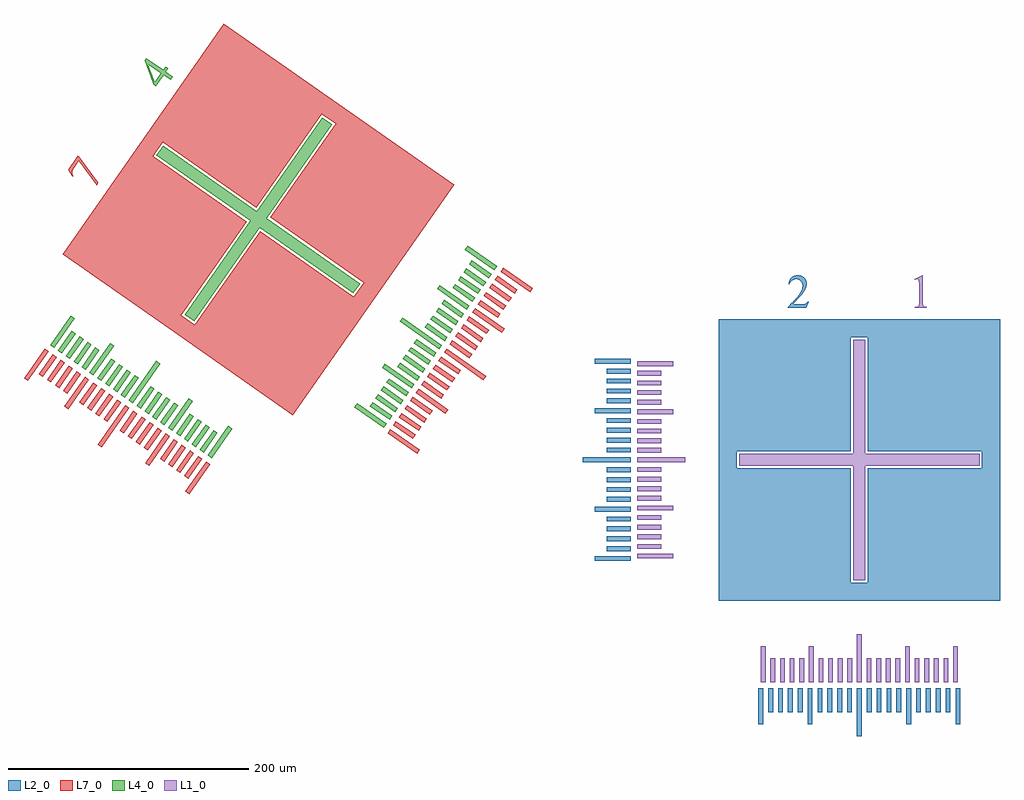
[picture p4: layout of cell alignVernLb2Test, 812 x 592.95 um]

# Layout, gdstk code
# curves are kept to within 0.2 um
import gdstk
lib = gdstk.Library(unit=1e-6, precision=1e-09)
def R(c, l, rs):  # rectangles x0, y0, x1, y1
    for r in rs: c.add(gdstk.rectangle(r[:2], r[2:], *l))
def A(c, l, x, y, w, h, nx, ny, dx, dy):  # array of equal rectangles
    R(c, l, [(x+i*dx, y+j*dy, x+i*dx+w, y+j*dy+h) for i in range(nx) for j in range(ny)])
def P(c, l, *ps):  # polygons
    for p in ps: c.add(gdstk.Polygon(p, *l))
L1_0 = (1, 0)
L2_0 = (2, 0)
L4_0 = (4, 0)
L7_0 = (7, 0)

alignvernlb2test = lib.new_cell('alignVernLb2Test')
A(alignvernlb2test, L1_0, -74, -185, 4, 20, 4, 1, 8, 0)
A(alignvernlb2test, L1_0, -34, -185, 4, 20, 4, 1, 8, 0)
A(alignvernlb2test, L1_0, 6, -185, 4, 20, 4, 1, 8, 0)
A(alignvernlb2test, L1_0, 46, -185, 4, 20, 4, 1, 8, 0)
A(alignvernlb2test, L1_0, -185, -74, 20, 4, 1, 4, 0, 8)
A(alignvernlb2test, L1_0, -185, -34, 20, 4, 1, 4, 0, 8)
A(alignvernlb2test, L1_0, -185, 6, 20, 4, 1, 4, 0, 8)
A(alignvernlb2test, L1_0, -185, 46, 20, 4, 1, 4, 0, 8)
R(alignvernlb2test, L1_0, [(-82,-185,-78,-155), (-42,-185,-38,-155), (-2,-185,2,-145), (38,-185,42,-155), (78,-185,82,-155), (-185,-82,-155,-78), (-185,-42,-155,-38), (-185,-2,-145,2), (-185,38,-155,42), (-185,78,-155,82)])
P(alignvernlb2test, L1_0, [(-5,-100),(-5,-5),(-100,-5),(-100,5),(-5,5),(-5,100),(5,100),(5,5),(100,5),(100,-5),(5,-5),(5,-100)],
  [(46.25,126.484),(46.25,127.203),(48.598,127.497),(49.533,128.647),(49.644,146.769),(49.478,149.047),(48.997,150.04),(47.951,150.37),(46.078,149.766),(45.781,150.375),(52.234,153.516),(52.875,153.516),(52.964,128.882),(53.568,127.7),(56.219,127.203),(56.219,126.484)])
A(alignvernlb2test, L2_0, -75.8, -210, 4, 20, 4, 1, 8.2, 0)
A(alignvernlb2test, L2_0, -34.8, -210, 4, 20, 4, 1, 8.2, 0)
A(alignvernlb2test, L2_0, 6.2, -210, 4, 20, 4, 1, 8.2, 0)
A(alignvernlb2test, L2_0, 47.2, -210, 4, 20, 4, 1, 8.2, 0)
A(alignvernlb2test, L2_0, -210, -75.8, 20, 4, 1, 4, 0, 8.2)
A(alignvernlb2test, L2_0, -210, -34.8, 20, 4, 1, 4, 0, 8.2)
A(alignvernlb2test, L2_0, -210, 6.2, 20, 4, 1, 4, 0, 8.2)
A(alignvernlb2test, L2_0, -210, 47.2, 20, 4, 1, 4, 0, 8.2)
R(alignvernlb2test, L2_0, [(-2,-230,2,-190), (-84,-220,-80,-190), (-43,-220,-39,-190), (39,-220,43,-190), (80,-220,84,-190), (-220,-84,-190,-80), (-220,-43,-190,-39), (-230,-2,-190,2), (-220,39,-190,43), (-220,80,-190,84)])
P(alignvernlb2test, L2_0, [(-117,-117),(-117,-102),(7,-102),(7,-7),(102,-7),(102,7),(7,7),(7,102),(-7,102),(-7,7),(-102,7),(-102,-7),(-7,-7),(-7,-102),(-117,-102),(-117,117),(117,117),(117,-117)],
  [(-59.742,126.484),(-59.742,127.203),(-53.871,132.922),(-50.039,137.484),(-48.116,140.839),(-47.251,144.141),(-47.348,146.11),(-47.889,147.684),(-48.96,149.103),(-50.344,150.073),(-52.703,150.527),(-55.162,149.89),(-57.009,148.384),(-58.258,146.031),(-58.977,146.031),(-58.146,149.145),(-56.532,151.525),(-54.114,153.063),(-51.016,153.508),(-48.129,152.861),(-45.906,151.315),(-44.389,149.113),(-43.883,146.65),(-44.326,143.798),(-45.652,140.938),(-47.654,138.016),(-55.586,129.438),(-45.814,129.575),(-44.172,130.227),(-42.977,131.578),(-42.258,131.578),(-44.117,126.484)])
P(alignvernlb2test, L4_0, [(-553.262,115.217),(-561.453,120.953),(-506.964,198.772),(-584.783,253.262),(-579.047,261.453),(-501.228,206.964),(-446.738,284.783),(-438.547,279.047),(-493.036,201.228),(-415.217,146.738),(-420.953,138.547),(-498.772,193.036)],
  [(-545.494,6.012),(-548.771,8.307),(-537.299,24.69),(-534.023,22.395)],
  [(-538.941,1.424),(-542.218,3.718),(-525.01,28.292),(-521.734,25.998)],
  [(-552.048,10.601),(-555.324,12.895),(-543.853,29.278),(-540.576,26.984)],
  [(-558.601,15.189),(-561.877,17.484),(-550.406,33.867),(-547.129,31.572)],
  [(-565.154,19.778),(-568.431,22.072),(-556.959,38.455),(-553.682,36.161)],
  [(-578.26,28.955),(-581.537,31.25),(-570.066,47.633),(-566.789,45.338)],
  [(-571.707,24.367),(-574.984,26.661),(-557.777,51.236),(-554.5,48.941)],
  [(-584.814,33.544),(-588.09,35.838),(-576.619,52.221),(-573.342,49.927)],
  [(-591.367,38.132),(-594.643,40.427),(-583.172,56.81),(-579.895,54.516)],
  [(-597.92,42.721),(-601.197,45.015),(-589.725,61.398),(-586.449,59.104)],
  [(-611.027,51.898),(-614.303,54.193),(-602.832,70.576),(-599.555,68.281)],
  [(-617.58,56.487),(-620.856,58.781),(-609.385,75.164),(-606.108,72.87)],
  [(-624.133,61.076),(-627.41,63.37),(-615.938,79.753),(-612.661,77.459)],
  [(-604.473,47.31),(-607.75,49.604),(-584.807,82.37),(-581.53,80.076)],
  [(-630.686,65.664),(-633.963,67.958),(-622.491,84.342),(-619.215,82.047)],
  [(-643.793,74.841),(-647.069,77.136),(-635.598,93.519),(-632.321,91.224)],
  [(-637.239,70.253),(-640.516,72.547),(-623.309,97.122),(-620.032,94.827)],
  [(-650.346,79.43),(-653.622,81.724),(-642.151,98.107),(-638.874,95.813)],
  [(-656.899,84.019),(-660.176,86.313),(-648.704,102.696),(-645.428,100.402)],
  [(-663.452,88.607),(-666.729,90.902),(-655.257,107.285),(-651.981,104.99)],
  [(-670.005,93.196),(-673.282,95.49),(-656.075,120.065),(-652.798,117.77)],
  [(-395.49,26.718),(-420.065,43.925),(-417.77,47.202),(-393.196,29.994)],
  [(-390.902,33.271),(-407.285,44.743),(-404.99,48.019),(-388.607,36.548)],
  [(-386.313,39.824),(-402.696,51.296),(-400.402,54.572),(-384.019,43.101)],
  [(-381.724,46.378),(-398.107,57.849),(-395.813,61.126),(-379.43,49.654)],
  [(-377.136,52.931),(-393.519,64.402),(-391.224,67.679),(-374.841,56.207)],
  [(-372.547,59.484),(-397.122,76.691),(-394.827,79.968),(-370.253,62.761)],
  [(-367.958,66.037),(-384.342,77.509),(-382.047,80.785),(-365.664,69.314)],
  [(-363.37,72.59),(-379.753,84.062),(-377.459,87.339),(-361.076,75.867)],
  [(-358.781,79.144),(-375.164,90.615),(-372.87,93.892),(-356.487,82.42)],
  [(-354.193,85.697),(-370.576,97.168),(-368.281,100.445),(-351.898,88.973)],
  [(-345.015,98.803),(-361.398,110.275),(-359.104,113.551),(-342.721,102.08)],
  [(-349.604,92.25),(-382.37,115.193),(-380.076,118.47),(-347.31,95.527)],
  [(-340.427,105.356),(-356.81,116.828),(-354.516,120.105),(-338.133,108.633)],
  [(-335.838,111.91),(-352.221,123.381),(-349.927,126.658),(-333.544,115.186)],
  [(-331.25,118.463),(-347.633,129.934),(-345.338,133.211),(-328.955,121.74)],
  [(-326.661,125.016),(-351.236,142.223),(-348.941,145.5),(-324.367,128.293)],
  [(-322.072,131.569),(-338.455,143.041),(-336.161,146.317),(-319.778,134.846)],
  [(-317.484,138.123),(-333.867,149.594),(-331.572,152.871),(-315.189,141.399)],
  [(-312.895,144.676),(-329.278,156.147),(-326.984,159.424),(-310.601,147.952)],
  [(-308.307,151.229),(-324.69,162.701),(-322.395,165.977),(-306.012,154.506)],
  [(-303.718,157.782),(-328.292,174.99),(-325.998,178.266),(-301.424,161.059)],
  [(-585.249,310.974),(-587.297,312.408),(-587.925,314.135),(-586.412,314.135),(-581.08,321.75),(-591.844,329.288),(-586.412,314.135),(-587.925,314.135),(-594.614,332.524),(-593.377,334.29),(-579.234,324.387),(-577.199,327.293),(-574.934,325.706),(-576.968,322.801),(-571.234,318.786),(-573.08,316.149),(-578.815,320.164)])
P(alignvernlb2test, L7_0, [(-557.378,-28.394),(-560.655,-26.1),(-543.447,-1.525),(-540.171,-3.819)],
  [(-558.359,-15.499),(-561.636,-13.205),(-550.164,3.178),(-546.888,0.884)],
  [(-565.076,-10.796),(-568.353,-8.501),(-556.881,7.882),(-553.605,5.587)],
  [(-571.793,-6.092),(-575.07,-3.798),(-563.599,12.585),(-560.322,10.291)],
  [(-578.51,-1.389),(-581.787,0.905),(-570.316,17.288),(-567.039,14.994)],
  [(-590.963,-4.877),(-594.24,-2.583),(-577.033,21.992),(-573.756,19.697)],
  [(-367.967,5.004),(-392.542,22.212),(-390.247,25.488),(-365.673,8.281)],
  [(-591.945,8.018),(-595.221,10.312),(-583.75,26.695),(-580.473,24.401)],
  [(-598.662,12.721),(-601.938,15.015),(-590.467,31.398),(-587.19,29.104)],
  [(-371.455,17.457),(-387.838,28.929),(-385.544,32.205),(-369.161,20.734)],
  [(-605.379,17.424),(-608.655,19.719),(-597.184,36.102),(-593.907,33.807)],
  [(-366.752,24.174),(-383.135,35.646),(-380.841,38.922),(-364.458,27.451)],
  [(-612.096,22.128),(-615.372,24.422),(-603.901,40.805),(-600.624,38.511)],
  [(-630.284,10.448),(-633.561,12.742),(-610.618,45.508),(-607.341,43.214)],
  [(-362.049,30.891),(-378.432,42.363),(-376.137,45.639),(-359.754,34.168)],
  [(-625.53,31.534),(-628.806,33.829),(-617.335,50.212),(-614.058,47.917)],
  [(-357.345,37.608),(-373.728,49.08),(-371.434,52.356),(-355.051,40.885)],
  [(-632.247,36.238),(-635.523,38.532),(-624.052,54.915),(-620.775,52.621)],
  [(-344.45,38.59),(-369.025,55.797),(-366.731,59.074),(-342.156,41.866)],
  [(-638.964,40.941),(-642.24,43.235),(-630.769,59.618),(-627.492,57.324)],
  [(-645.681,45.644),(-648.958,47.939),(-637.486,64.322),(-634.209,62.027)],
  [(-347.939,51.042),(-364.322,62.514),(-362.027,65.791),(-345.644,54.319)],
  [(-658.134,42.156),(-661.41,44.45),(-644.203,69.025),(-640.926,66.731)],
  [(-343.235,57.76),(-359.618,69.231),(-357.324,72.508),(-340.941,61.036)],
  [(-659.115,55.051),(-662.392,57.345),(-650.92,73.728),(-647.643,71.434)],
  [(-665.832,59.754),(-669.109,62.049),(-657.637,78.432),(-654.361,76.137)],
  [(-338.532,64.477),(-354.915,75.948),(-352.621,79.225),(-336.238,67.753)],
  [(-672.549,64.458),(-675.826,66.752),(-664.354,83.135),(-661.078,80.841)],
  [(-333.829,71.194),(-350.212,82.665),(-347.917,85.942),(-331.534,74.47)],
  [(-679.266,69.161),(-682.543,71.455),(-671.071,87.838),(-667.795,85.544)],
  [(-691.719,65.673),(-694.996,67.967),(-677.788,92.542),(-674.512,90.247)],
  [(-312.742,66.439),(-345.508,89.382),(-343.214,92.659),(-310.448,69.716)],
  [(-324.422,84.628),(-340.805,96.099),(-338.511,99.376),(-322.128,87.904)],
  [(-319.719,91.345),(-336.102,102.816),(-333.807,106.093),(-317.424,94.621)],
  [(-315.015,98.062),(-331.398,109.533),(-329.104,112.81),(-312.721,101.338)],
  [(-310.312,104.779),(-326.695,116.25),(-324.401,119.527),(-308.018,108.055)],
  [(-297.417,105.76),(-321.992,122.967),(-319.697,126.244),(-295.123,109.037)],
  [(-300.905,118.213),(-317.288,129.684),(-314.994,132.961),(-298.611,121.49)],
  [(-296.202,124.93),(-312.585,136.402),(-310.291,139.678),(-293.908,128.207)],
  [(-291.499,131.647),(-307.882,143.119),(-305.587,146.395),(-289.204,134.924)],
  [(-286.795,138.364),(-303.178,149.836),(-300.884,153.112),(-284.501,141.641)],
  [(-273.9,139.345),(-298.475,156.553),(-296.181,159.829),(-271.606,142.622)],
  [(-634.381,228.602),(-649.369,248.768),(-654.719,240.741),(-654.919,238.52),(-654.17,236.164),(-654.672,235.828),(-658.343,241.508),(-650.206,253.13),(-649.604,252.709),(-633.127,230.394)],
  [(-471.268,37.051),(-578.922,112.431),(-552.771,112.431),(-498.281,190.251),(-420.462,135.761),(-412.431,147.229),(-490.251,201.719),(-435.761,279.538),(-447.229,287.569),(-501.719,209.749),(-579.538,264.239),(-587.569,252.771),(-509.749,198.281),(-564.239,120.462),(-552.771,112.431),(-578.922,112.431),(-662.949,171.268),(-528.732,362.949),(-337.051,228.732)])

lib.write_gds('alignVernLb2Test.gds')
